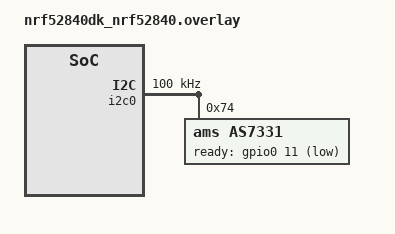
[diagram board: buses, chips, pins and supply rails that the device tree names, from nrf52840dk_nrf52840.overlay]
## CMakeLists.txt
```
# SPDX-License-Identifier: Apache-2.0

cmake_minimum_required(VERSION 3.20.0)

find_package(Zephyr REQUIRED HINTS $ENV{ZEPHYR_BASE})
project(as7331)

FILE(GLOB app_sources src/*.c)
target_sources(app PRIVATE ${app_sources})
```

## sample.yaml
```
sample:
  description: Demonstration of the AMS AS7331 UV Sensor driver
  name: AS7331 sample
tests:
  sample.sensor.as7331:
    harness: sensor
    tags: samples
    depends_on:
      - i2c
```

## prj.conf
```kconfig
CONFIG_I2C=y
CONFIG_SENSOR=y

CONFIG_AS7331=y
# CONFIG_AS7331_TRIGGER=y
# CONFIG_AS7331_TRIGGER_OWN_THREAD=y
# CONFIG_AS7331_TRIGGER_GLOBAL_THREAD=y
# CONFIG_PM_DEVICE=y

CONFIG_LOG=y
CONFIG_SHELL=y
CONFIG_SENSOR_SHELL=y
CONFIG_REBOOT=y
```

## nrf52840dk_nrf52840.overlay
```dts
/*
 * Copyright (c) 2024 Jeff Welder
 * SPDX-License-Identifier: Apache-2.0
 */


&i2c0 {
	status = "okay";
	clock-frequency = <I2C_BITRATE_STANDARD>;
	as7331@74 {
		compatible = "ams,as7331";
		reg = <0x74>;
		// ready-gpios = <&gpio0 11 (GPIO_ACTIVE_HIGH)>;
		ready-gpios = <&gpio0 11 (GPIO_PULL_UP | GPIO_ACTIVE_LOW)>;
		// sync-gpios = <&gpio0 20 (GPIO_ACTIVE_HIGH)>;
	};
};
```

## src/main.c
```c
/*
 * Copyright (c) 2024 Jeff Welder
 *
 * SPDX-License-Identifier: Apache-2.0
 */

#include <zephyr/kernel.h>
#include <zephyr/device.h>
#include <zephyr/drivers/sensor.h>

#include <zephyr/logging/log.h>
LOG_MODULE_REGISTER(main, CONFIG_SENSOR_LOG_LEVEL);

int main(void)
{
	int rc;

	const struct device *dev;
	struct sensor_value uv;

	dev = DEVICE_DT_GET_ONE(ams_as7331);
	if (!device_is_ready(dev)) {
		LOG_INF("Sensor: device not ready.");
		// return 0;
	}

	LOG_INF("Device is %p, Name is %s", dev, dev->name);

	while (1) {
		rc = sensor_sample_fetch(dev);
		if (rc == 0) {
			sensor_channel_get(dev, SENSOR_CHAN_UV, &uv);
			LOG_INF("Uv: %d.%06d", uv.val1, uv.val2);
		}

		k_sleep(K_MSEC(1000));
	}
	return 0;
}
```
